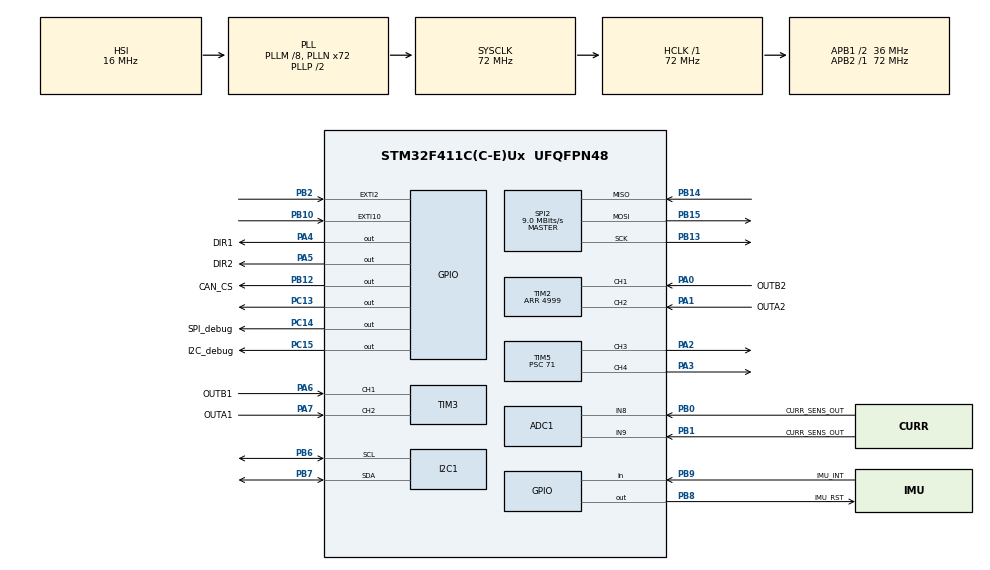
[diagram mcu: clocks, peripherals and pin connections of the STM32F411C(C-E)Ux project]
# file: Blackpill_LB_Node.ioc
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ADC1.Channel-0\#ChannelRegularConversion=ADC_CHANNEL_8
ADC1.Channel-1\#ChannelRegularConversion=ADC_CHANNEL_9
ADC1.ContinuousConvMode=ENABLE
ADC1.DMAContinuousRequests=ENABLE
ADC1.DiscontinuousConvMode=DISABLE
ADC1.NbrOfConversion=2
ADC1.NbrOfConversionFlag=1
ADC1.Rank-0\#ChannelRegularConversion=1
ADC1.Rank-1\#ChannelRegularConversion=2
ADC1.SamplingTime-0\#ChannelRegularConversion=ADC_SAMPLETIME_3CYCLES
ADC1.SamplingTime-1\#ChannelRegularConversion=ADC_SAMPLETIME_3CYCLES
ADC1.ScanConvMode=ENABLE
ADC1.master=1
Dma.ADC1.2.Direction=DMA_PERIPH_TO_MEMORY
Dma.ADC1.2.FIFOMode=DMA_FIFOMODE_DISABLE
Dma.ADC1.2.Instance=DMA2_Stream0
Dma.ADC1.2.MemDataAlignment=DMA_MDATAALIGN_HALFWORD
Dma.ADC1.2.MemInc=DMA_MINC_ENABLE
Dma.ADC1.2.Mode=DMA_CIRCULAR
Dma.ADC1.2.PeriphDataAlignment=DMA_PDATAALIGN_HALFWORD
Dma.ADC1.2.PeriphInc=DMA_PINC_DISABLE
Dma.ADC1.2.Priority=DMA_PRIORITY_LOW
Dma.I2C1_RX.0.Direction=DMA_PERIPH_TO_MEMORY
Dma.I2C1_RX.0.FIFOMode=DMA_FIFOMODE_DISABLE
Dma.I2C1_RX.0.Instance=DMA1_Stream0
Dma.I2C1_RX.0.MemDataAlignment=DMA_MDATAALIGN_BYTE
Dma.I2C1_RX.0.MemInc=DMA_MINC_ENABLE
Dma.I2C1_RX.0.Mode=DMA_NORMAL
Dma.I2C1_RX.0.PeriphDataAlignment=DMA_PDATAALIGN_BYTE
Dma.I2C1_RX.0.PeriphInc=DMA_PINC_DISABLE
Dma.I2C1_RX.0.Priority=DMA_PRIORITY_LOW
Dma.I2C1_TX.1.Direction=DMA_MEMORY_TO_PERIPH
Dma.I2C1_TX.1.FIFOMode=DMA_FIFOMODE_DISABLE
Dma.I2C1_TX.1.Instance=DMA1_Stream1
Dma.I2C1_TX.1.MemDataAlignment=DMA_MDATAALIGN_BYTE
Dma.I2C1_TX.1.MemInc=DMA_MINC_ENABLE
Dma.I2C1_TX.1.Mode=DMA_NORMAL
Dma.I2C1_TX.1.PeriphDataAlignment=DMA_PDATAALIGN_BYTE
Dma.I2C1_TX.1.PeriphInc=DMA_PINC_DISABLE
Dma.I2C1_TX.1.Priority=DMA_PRIORITY_LOW
Dma.Request0=I2C1_RX
Dma.Request1=I2C1_TX
Dma.Request2=ADC1
Mcu.Family=STM32F4
Mcu.Name=STM32F411C(C-E)Ux
Mcu.Package=UFQFPN48
NVIC.DMA1_Stream0_IRQn=true\:0\:0\:false\:false\:true\:false\:true\:true
NVIC.DMA1_Stream1_IRQn=true\:0\:0\:false\:false\:true\:false\:true\:true
NVIC.DMA2_Stream0_IRQn=true\:0\:0\:false\:false\:true\:false\:true\:true
NVIC.EXTI15_10_IRQn=true\:0\:0\:false\:false\:true\:true\:true\:true
NVIC.EXTI2_IRQn=true\:0\:0\:false\:false\:true\:true\:true\:true
NVIC.PriorityGroup=NVIC_PRIORITYGROUP_4
PA0-WKUP.GPIO_Label=OUTB2
PA0-WKUP.Signal=S_TIM2_CH1_ETR
PA1.GPIO_Label=OUTA2
PA1.Signal=S_TIM2_CH2
PA2.Signal=S_TIM5_CH3
PA3.Signal=S_TIM5_CH4
PA4.GPIO_Label=DIR1
PA4.Signal=GPIO_Output
PA5.GPIO_Label=DIR2
PA5.Signal=GPIO_Output
PA6.GPIO_Label=OUTB1
PA6.Signal=S_TIM3_CH1
PA7.GPIO_Label=OUTA1
PA7.Signal=S_TIM3_CH2
PB0.GPIO_Label=CURR_SENS_OUT
PB0.Signal=ADCx_IN8
PB1.GPIO_Label=CURR_SENS_OUT
PB1.Signal=ADCx_IN9
PB10.Signal=GPXTI10
PB12.GPIO_Label=CAN_CS
PB12.Signal=GPIO_Output
PB13.Mode=Full_Duplex_Master
PB13.Signal=SPI2_SCK
PB14.Mode=Full_Duplex_Master
PB14.Signal=SPI2_MISO
PB15.Mode=Full_Duplex_Master
PB15.Signal=SPI2_MOSI
PB2.GPIO_ModeDefaultEXTI=GPIO_MODE_IT_RISING_FALLING
PB2.Signal=GPXTI2
PB6.Mode=I2C
PB6.Signal=I2C1_SCL
PB7.Mode=I2C
PB7.Signal=I2C1_SDA
PB8.GPIO_Label=IMU_RST
PB8.Signal=GPIO_Output
PB9.GPIO_Label=IMU_INT
PB9.Signal=GPIO_Input
PC13-ANTI_TAMP.Signal=GPIO_Output
PC14-OSC32_IN.GPIO_Label=SPI_debug
PC14-OSC32_IN.Signal=GPIO_Output
PC15-OSC32_OUT.GPIO_Label=I2C_debug
PC15-OSC32_OUT.Signal=GPIO_Output
PH0\ -\ OSC_IN.Mode=HSE-External-Oscillator
PH0\ -\ OSC_IN.Signal=RCC_OSC_IN
PH1\ -\ OSC_OUT.Mode=HSE-External-Oscillator
PH1\ -\ OSC_OUT.Signal=RCC_OSC_OUT
ProjectManager.HeapSize=0x200
ProjectManager.StackSize=0x400
ProjectManager.TargetToolchain=STM32CubeIDE
RCC.48MHZClocksFreq_Value=36000000
RCC.AHBFreq_Value=72000000
RCC.APB1CLKDivider=RCC_HCLK_DIV2
RCC.APB1Freq_Value=36000000
RCC.APB1TimFreq_Value=72000000
RCC.APB2Freq_Value=72000000
RCC.APB2TimFreq_Value=72000000
RCC.CortexFreq_Value=72000000
RCC.HCLKFreq_Value=72000000
RCC.HSE_VALUE=25000000
RCC.HSI_VALUE=16000000
RCC.LSE_VALUE=32768
RCC.PLLM=8
RCC.PLLN=72
RCC.SYSCLKFreq_VALUE=72000000
RCC.SYSCLKSource=RCC_SYSCLKSOURCE_PLLCLK
RCC.VCOOutputFreq_Value=144000000
SH.ADCx_IN8.0=ADC1_IN8,IN8
SH.ADCx_IN9.0=ADC1_IN9,IN9
SH.S_TIM2_CH1_ETR.0=TIM2_CH1,Encoder_Interface
SH.S_TIM2_CH2.0=TIM2_CH2,Encoder_Interface
SH.S_TIM3_CH1.0=TIM3_CH1,Encoder_Interface
SH.S_TIM3_CH2.0=TIM3_CH2,Encoder_Interface
SH.S_TIM5_CH3.0=TIM5_CH3,PWM Generation3 CH3
SH.S_TIM5_CH4.0=TIM5_CH4,PWM Generation4 CH4
SPI2.BaudRatePrescaler=SPI_BAUDRATEPRESCALER_4
SPI2.CalculateBaudRate=9.0 MBits/s
SPI2.Direction=SPI_DIRECTION_2LINES
SPI2.Mode=SPI_MODE_MASTER
SPI2.VirtualType=VM_MASTER
TIM1.Prescaler=71
TIM2.Period=4999
TIM5.Channel-PWM\ Generation3\ CH3=TIM_CHANNEL_3
TIM5.Channel-PWM\ Generation4\ CH4=TIM_CHANNEL_4
TIM5.Period=255
TIM5.Prescaler=71
VP_TIM1_VS_ClockSourceINT.Mode=Internal
VP_TIM5_VS_ClockSourceINT.Mode=Internal
board=custom

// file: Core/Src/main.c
/* USER CODE BEGIN Header */
/**
  ******************************************************************************
  * @file           : main.c
  * @brief          : Main program body
  ******************************************************************************
  * @attention
  *
  * Copyright (c) 2026 STMicroelectronics.
  * All rights reserved.
  *
  * This software is licensed under terms that can be found in the LICENSE file
  * in the root directory of this software component.
  * If no LICENSE file comes with this software, it is provided AS-IS.
  *
  ******************************************************************************
  */
/* USER CODE END Header */
#include "main.h"

/* USER CODE BEGIN Includes */
#include "CANSPI.h"
#include "MCP2515.h"
/* USER CODE END Includes */

/* USER CODE BEGIN PD */
#define pitch 5
#define Vsup 5
#define KE 0.0004

#define CAN_FAIL 10000

/* ---- CAN node identifiers (bits [10:5] of the 11-bit standard ID) ---- */
#define RPI          0
#define FR           1
#define FL           2
#define BR           3
#define BL           4
#define LINEAR_BASE  5   /* this node */

/* ---- CAN message-type identifiers (bits [4:0]) ---- */
#define HEARTBEAT      0b00010  /* Wheel_Node value */
#define HEARTBEATED    0b00110  /* Wheel_Node value */
#define POSN_SEND      0b00000  /* was 0b00010 == HEARTBEAT; Wheel's MOTOR_DATA slot */
#define PWM_RECEIVE    0b00011
#define PWM_INTERRUPT  0b01010  /* Wheel_Node value */
#define START_NODE     0b10100  /* mirrors Wheel_Node's value for the same semantic message */

#define BUSOFF_CHECK_PERIOD_MS 200

#define MAKE_ARBITRATION_ID(node, msg) (((node) << 5) | (msg))

#define CPR (1000*4)
#define POS_UNITS_PER_MM 100   /* position sent in 0.01 mm: int16 -> +-327.67 mm */
#define pi 3.141592
#define dt 0.0001
/* USER CODE END PD */

ADC_HandleTypeDef hadc1;
DMA_HandleTypeDef hdma_adc1;

I2C_HandleTypeDef hi2c1;
DMA_HandleTypeDef hdma_i2c1_rx;
DMA_HandleTypeDef hdma_i2c1_tx;

SPI_HandleTypeDef hspi2;

TIM_HandleTypeDef htim1;
TIM_HandleTypeDef htim2;
TIM_HandleTypeDef htim3;
TIM_HandleTypeDef htim5;

/* USER CODE BEGIN PV */
uCAN_MSG tx_linearbase;
uCAN_MSG tx_heartbeat;
uCAN_MSG tx_pwminterrupt;

uCAN_MSG rx;

uint16_t CAN_failed_counter = 0;
uint16_t counter = 0;
uint8_t timer = 0;

bool beat_pls = false;
uint8_t heartbeater = 0;

bool start_node = false;
uint16_t curr_loc = 0;  //this is the value of quadrature

volatile uint16_t adc_buf[2] = {0, 0}; /* [0]=ADC_CHANNEL_8/PB0 = real motor current, sent over CAN.
                                  [1]=ADC_CHANNEL_9/PB1 is vestigial leftover config copied from
                                  Wheel_Node's 2-motor setup — DMA fills it but it is never sent. */

static const uint16_t msg_linearbase = MAKE_ARBITRATION_ID(LINEAR_BASE, POSN_SEND);
static const uint16_t start_node_msg = MAKE_ARBITRATION_ID(LINEAR_BASE, START_NODE);
static const uint16_t msg_pwmreceive = MAKE_ARBITRATION_ID(LINEAR_BASE, PWM_RECEIVE);

static const uint16_t heartbeat_msg = MAKE_ARBITRATION_ID(LINEAR_BASE, HEARTBEAT);
static const uint16_t heartbeated_msg = MAKE_ARBITRATION_ID(LINEAR_BASE, HEARTBEATED);

static const uint16_t pwminterrupted_msg = MAKE_ARBITRATION_ID(LINEAR_BASE, PWM_INTERRUPT);
static uint32_t last_bussoff_check_tick = 0;

volatile uint8_t interrupted_left = 0;
volatile uint8_t interrupted_right = 0;
volatile bool left_edge_pending = false;
volatile bool right_edge_pending = false;
volatile uint8_t cur_dir = 0;       /* last commanded direction: 0 = left, 1 = right */
volatile uint32_t tx_drop_count = 0;
int32_t pos_counts = 0;             /* signed accumulated 4x encoder counts (TIM3) */
uint16_t last_cnt = 0;
volatile bool CAN_checker = false;
volatile bool start_node_init = 0;

/* USER CODE END PV */

void SystemClock_Config(void);
static void MX_GPIO_Init(void);
static void MX_DMA_Init(void);
static void MX_ADC1_Init(void);
static void MX_I2C1_Init(void);
static void MX_SPI2_Init(void);
static void MX_TIM2_Init(void);
static void MX_TIM3_Init(void);
static void MX_TIM5_Init(void);
static void MX_TIM1_Init(void);
/* USER CODE BEGIN PFP */
void CAN_LinearBase(void){
	/* mm = counts * pitch / CPR (pitch in mm per rev, CPR = 4x counts per rev) */
	int32_t pos_units = (int32_t)((int64_t)pos_counts * pitch * POS_UNITS_PER_MM / CPR);
	if (pos_units > 32767) pos_units = 32767;
	if (pos_units < -32768) pos_units = -32768;
	curr_loc = (uint16_t)(int16_t)pos_units;
	tx_linearbase.frame.idType = dSTANDARD_CAN_MSG_ID_2_0B;
	tx_linearbase.frame.id = msg_linearbase;
	tx_linearbase.frame.dlc = 7;
	tx_linearbase.frame.data0 = curr_loc & 0xFF;         //position LSB
	tx_linearbase.frame.data1 = (curr_loc >> 8) & 0xFF;  //position MSB
	tx_linearbase.frame.data2 = adc_buf[0] & 0xFF;        //current LSB, raw ADC counts
	tx_linearbase.frame.data3 = (adc_buf[0] >> 8) & 0xFF; //current MSB, raw ADC counts
	tx_linearbase.frame.data4 = adc_buf[1] & 0xFF;        //current 2 LSB, raw ADC counts
	tx_linearbase.frame.data5 = (adc_buf[1] >> 8) & 0xFF; //current 2 MSB, raw ADC counts
	tx_linearbase.frame.data6 = (interrupted_left ? 0x01 : 0) | (interrupted_right ? 0x02 : 0); //limit switches: bit0 left, bit1 right
	if (!CANSPI_Transmit(&tx_linearbase)) tx_drop_count++;
}

void delay_us (uint16_t us){
	__HAL_TIM_SET_COUNTER(&htim1,0);  // set the counter value a 0
	while (__HAL_TIM_GET_COUNTER(&htim1) < us);  // wait for the counter to reach the us input in the parameter
}

void LB_PWM(uint8_t dir, uint8_t pwm){
	dir = (dir != 0) ? 1 : 0;
	if (dir != cur_dir){
		/* direction change: PWM 0 -> DIR -> new PWM, never reverse at duty */
		__HAL_TIM_SET_COMPARE(&htim5, TIM_CHANNEL_3, 0);
		HAL_GPIO_WritePin(GPIOA, GPIO_PIN_4, dir ? GPIO_PIN_SET : GPIO_PIN_RESET);
		cur_dir = dir;
	}
	/* dir 0 is stopped by the left switch, dir 1 by the right one; the other way stays free */
	if ((dir == 0) ? interrupted_left : interrupted_right){
		__HAL_TIM_SET_COMPARE(&htim5, TIM_CHANNEL_3, 0);
		return;
	}
	__HAL_TIM_SET_COMPARE(&htim5, TIM_CHANNEL_3, pwm);   /* ARR is 255, so pwm 0..255 is 0..100% */
	/* a limit ISR may have fired between the check and the write above */
	if ((dir == 0) ? interrupted_left : interrupted_right){
		__HAL_TIM_SET_COMPARE(&htim5, TIM_CHANNEL_3, 0);
	}
}

void CAN_Heartbeat(void){
    if (beat_pls){
		tx_heartbeat.frame.idType = dSTANDARD_CAN_MSG_ID_2_0B;
		tx_heartbeat.frame.id = heartbeated_msg;
		tx_heartbeat.frame.dlc = 1;
		tx_heartbeat.frame.data0 = heartbeater;
		beat_pls = false;
		if (!CANSPI_Transmit(&tx_heartbeat)) tx_drop_count++;
    }
}

void CAN_PWMInterrupt(){
	tx_pwminterrupt.frame.idType = dSTANDARD_CAN_MSG_ID_2_0B;
	tx_pwminterrupt.frame.id = pwminterrupted_msg;
	tx_pwminterrupt.frame.dlc = 2;
	tx_pwminterrupt.frame.data0 = interrupted_left;
	tx_pwminterrupt.frame.data1 = interrupted_right;
	if (!CANSPI_Transmit(&tx_pwminterrupt)) tx_drop_count++;
}

void handle_rx(void){
	if (rx.frame.idType != dSTANDARD_CAN_MSG_ID_2_0B) return;
	if (rx.frame.id == msg_pwmreceive){
		/* data0 = direction, data1 = 8-bit magnitude (same layout as Wheel_Node) */
		if (rx.frame.dlc >= 2) LB_PWM(rx.frame.data0, rx.frame.data1);
	}
	else if (rx.frame.id == heartbeat_msg){
		heartbeater = rx.frame.data0 + rx.frame.data1;
		beat_pls = true;
		CAN_Heartbeat();
	}
}

void can_health_check(void){
	if (HAL_GetTick() - last_bussoff_check_tick >= BUSOFF_CHECK_PERIOD_MS){
		last_bussoff_check_tick = HAL_GetTick();
		if (!CAN_checker || CANSPI_isBussOff()){
			CAN_checker = false;
			CAN_checker = CANSPI_Initialize();
		}
	}
}

/* USER CODE END PFP */

int main(void)
{

  /* MCU Configuration--------------------------------------------------------*/

  /* Reset of all peripherals, Initializes the Flash interface and the Systick. */
  HAL_Init();

  /* Configure the system clock */
  SystemClock_Config();

  /* Initialize all configured peripherals */
  MX_GPIO_Init();
  MX_DMA_Init();
  MX_ADC1_Init();
  MX_I2C1_Init();
  MX_SPI2_Init();
  MX_TIM2_Init();
  MX_TIM3_Init();
  MX_TIM5_Init();
  MX_TIM1_Init();
  /* USER CODE BEGIN 2 */
  HAL_GPIO_WritePin(GPIOC,GPIO_PIN_13,0);
  HAL_Delay(100);
  HAL_GPIO_WritePin(GPIOC,GPIO_PIN_13,1);
  HAL_Delay(100);

  HAL_Delay(1000);
  CAN_checker = CANSPI_Initialize();
  HAL_Delay(1000);

  HAL_GPIO_WritePin(GPIOC,GPIO_PIN_13,0);
  HAL_Delay(100);
  HAL_GPIO_WritePin(GPIOC,GPIO_PIN_13,1);
  HAL_Delay(100);

  HAL_GPIO_WritePin(GPIOC,GPIO_PIN_13,0);
  HAL_Delay(100);
  HAL_GPIO_WritePin(GPIOC,GPIO_PIN_13,1);
  HAL_Delay(100);

  HAL_TIM_Base_Start(&htim1);

  HAL_TIM_PWM_Start(&htim5, TIM_CHANNEL_3);
//  HAL_TIM_PWM_Start(&htim5, TIM_CHANNEL_4);

  HAL_TIM_Encoder_Start(&htim2, TIM_CHANNEL_ALL);
  HAL_TIM_Encoder_Start(&htim3, TIM_CHANNEL_ALL);   /* TIM3 is the one read for position */

  HAL_ADC_Start_DMA(&hadc1, (uint32_t*)adc_buf, 2);
  __HAL_DMA_DISABLE_IT(hadc1.DMA_Handle, DMA_IT_TC | DMA_IT_HT | DMA_IT_TE);

  /* limit switches: read the real state once (carriage may power up on a switch),
     then enable the EXTI lines only now that CAN/SPI are initialised */
  interrupted_left  = (HAL_GPIO_ReadPin(GPIOB, GPIO_PIN_2)  == GPIO_PIN_SET) ? 1 : 0;
  interrupted_right = (HAL_GPIO_ReadPin(GPIOB, GPIO_PIN_10) == GPIO_PIN_SET) ? 1 : 0;
  if (interrupted_left || interrupted_right) CAN_PWMInterrupt();
  __HAL_GPIO_EXTI_CLEAR_IT(GPIO_PIN_2 | GPIO_PIN_10);
  HAL_NVIC_ClearPendingIRQ(EXTI2_IRQn);
  HAL_NVIC_ClearPendingIRQ(EXTI15_10_IRQn);
  HAL_NVIC_EnableIRQ(EXTI2_IRQn);
  HAL_NVIC_EnableIRQ(EXTI15_10_IRQn);

//  HAL_GPIO_WritePin(GPIOA,GPIO_PIN_4,1);
//  HAL_GPIO_WritePin(GPIOA,GPIO_PIN_5,1);
//  __HAL_TIM_SET_COMPARE(&htim5, TIM_CHANNEL_3, 150);
//  __HAL_TIM_SET_COMPARE(&htim5, TIM_CHANNEL_4, 150);
//
//  HAL_Delay(2000);
//
//  HAL_GPIO_WritePin(GPIOA,GPIO_PIN_4,0);
//  HAL_GPIO_WritePin(GPIOA,GPIO_PIN_5,0);
//  __HAL_TIM_SET_COMPARE(&htim5, TIM_CHANNEL_3, 0);
//  __HAL_TIM_SET_COMPARE(&htim5, TIM_CHANNEL_4, 0);
//
//  HAL_Delay(1000);

  /* Independent watchdog: LSI ~32 kHz / 64 = 500 Hz, reload 500 -> ~1 s.
     Fed from the main loop (and the start-wait loop); a hang resets the MCU, which drops PWM. */
  DBGMCU->APB1FZ |= DBGMCU_APB1_FZ_DBG_IWDG_STOP;   /* freeze while halted in the debugger */
  IWDG->KR  = 0x5555;
  IWDG->PR  = 4;
  IWDG->RLR = 500;
  IWDG->KR  = 0xAAAA;
  IWDG->KR  = 0xCCCC;
  /* USER CODE END 2 */

  /* Infinite loop */
  while (1)
  {

    /* USER CODE BEGIN 3 */

      IWDG->KR = 0xAAAA;   /* feed watchdog */

      // TTL disabled for now (loop-pass based, to be redone later):
      if (CAN_failed_counter>=CAN_FAIL){
    	  __HAL_TIM_SET_COMPARE(&htim5, TIM_CHANNEL_3, 0);
    	  HAL_GPIO_WritePin(GPIOA,GPIO_PIN_4,0);
    	  start_node = false;
      }

      can_health_check();

      if (!start_node){
    	  while(!CANSPI_Receive(&rx)){ IWDG->KR = 0xAAAA; can_health_check(); }
    	  CAN_failed_counter = 0;
    	  if (rx.frame.id == start_node_msg){
    		  start_node = true;
    		  start_node_init = true;
    		  delay_us(50);
    	  }
    	  else if (start_node_init){
    		  start_node = true;
    		  handle_rx();   /* the frame that woke the node is processed, not dropped */
    	  }
      }

  	  if(timer==10){
  		  timer = 0;
  		  CAN_LinearBase();
  	  }
  	  if (counter==1000){
  		  HAL_GPIO_TogglePin(GPIOC,GPIO_PIN_13);
  		  counter = 0;
  	  }

  	  if (left_edge_pending){
  		  left_edge_pending = false;
  		  CAN_PWMInterrupt();
  	  }
  	  if (right_edge_pending){
  		  right_edge_pending = false;
  		  CAN_PWMInterrupt();
  	  }

  	  HAL_GPIO_WritePin(GPIOC, GPIO_PIN_14, CAN_checker ? GPIO_PIN_SET : GPIO_PIN_RESET); // SPI_debug: follows CAN health

  	  if (CANSPI_Receive(&rx)){
  		  CAN_failed_counter=0;
  		  handle_rx();
  	  }

  	  //live position: signed accumulation of the 4x encoder count (wrap-safe, 16-bit counter)
  	  {
  		  uint16_t now_cnt = (uint16_t)__HAL_TIM_GET_COUNTER(&htim3);
  		  pos_counts += (int16_t)(now_cnt - last_cnt);
  		  last_cnt = now_cnt;
  	  }
  	  /* TODO(velocity): when the velocity command is defined, dead-reckon position from it here
  	     (pos += v*dt using a measured dt) and re-sync on limit hits. */

  	  timer++;
  	  counter++;
  	  CAN_failed_counter++;
  	  delay_us(100);
    }
  /* USER CODE END 3 */
}

void SystemClock_Config(void)
{
  RCC_OscInitTypeDef RCC_OscInitStruct = {0};
  RCC_ClkInitTypeDef RCC_ClkInitStruct = {0};

  /** Configure the main internal regulator output voltage
  */
  __HAL_RCC_PWR_CLK_ENABLE();
  __HAL_PWR_VOLTAGESCALING_CONFIG(PWR_REGULATOR_VOLTAGE_SCALE1);

  /** Initializes the RCC Oscillators according to the specified parameters
  * in the RCC_OscInitTypeDef structure.
  */
  RCC_OscInitStruct.OscillatorType = RCC_OSCILLATORTYPE_HSI;
  RCC_OscInitStruct.HSIState = RCC_HSI_ON;
  RCC_OscInitStruct.HSICalibrationValue = RCC_HSICALIBRATION_DEFAULT;
  RCC_OscInitStruct.PLL.PLLState = RCC_PLL_ON;
  RCC_OscInitStruct.PLL.PLLSource = RCC_PLLSOURCE_HSI;
  RCC_OscInitStruct.PLL.PLLM = 8;
  RCC_OscInitStruct.PLL.PLLN = 72;
  RCC_OscInitStruct.PLL.PLLP = RCC_PLLP_DIV2;
  RCC_OscInitStruct.PLL.PLLQ = 4;
  if (HAL_RCC_OscConfig(&RCC_OscInitStruct) != HAL_OK)
  {
    Error_Handler();
  }

  /** Initializes the CPU, AHB and APB buses clocks
  */
  RCC_ClkInitStruct.ClockType = RCC_CLOCKTYPE_HCLK|RCC_CLOCKTYPE_SYSCLK
                              |RCC_CLOCKTYPE_PCLK1|RCC_CLOCKTYPE_PCLK2;
  RCC_ClkInitStruct.SYSCLKSource = RCC_SYSCLKSOURCE_PLLCLK;
  RCC_ClkInitStruct.AHBCLKDivider = RCC_SYSCLK_DIV1;
  RCC_ClkInitStruct.APB1CLKDivider = RCC_HCLK_DIV2;
  RCC_ClkInitStruct.APB2CLKDivider = RCC_HCLK_DIV1;

  if (HAL_RCC_ClockConfig(&RCC_ClkInitStruct, FLASH_LATENCY_2) != HAL_OK)
  {
    Error_Handler();
  }
}

static void MX_ADC1_Init(void)
{

  ADC_ChannelConfTypeDef sConfig = {0};

  /** Configure the global features of the ADC (Clock, Resolution, Data Alignment and number of conversion)
  */
  hadc1.Instance = ADC1;
  hadc1.Init.ClockPrescaler = ADC_CLOCK_SYNC_PCLK_DIV2;
  hadc1.Init.Resolution = ADC_RESOLUTION_12B;
  hadc1.Init.ScanConvMode = ENABLE;
  hadc1.Init.ContinuousConvMode = ENABLE;
  hadc1.Init.DiscontinuousConvMode = DISABLE;
  hadc1.Init.ExternalTrigConvEdge = ADC_EXTERNALTRIGCONVEDGE_NONE;
  hadc1.Init.ExternalTrigConv = ADC_SOFTWARE_START;
  hadc1.Init.DataAlign = ADC_DATAALIGN_RIGHT;
  hadc1.Init.NbrOfConversion = 2;
  hadc1.Init.DMAContinuousRequests = ENABLE;
  hadc1.Init.EOCSelection = ADC_EOC_SINGLE_CONV;
  if (HAL_ADC_Init(&hadc1) != HAL_OK)
  {
    Error_Handler();
  }

  /** Configure for the selected ADC regular channel its corresponding rank in the sequencer and its sample time.
  */
  sConfig.Channel = ADC_CHANNEL_8;
  sConfig.Rank = 1;
  sConfig.SamplingTime = ADC_SAMPLETIME_3CYCLES;
  if (HAL_ADC_ConfigChannel(&hadc1, &sConfig) != HAL_OK)
  {
    Error_Handler();
  }

  /** Configure for the selected ADC regular channel its corresponding rank in the sequencer and its sample time.
  */
  sConfig.Channel = ADC_CHANNEL_9;
  sConfig.Rank = 2;
  if (HAL_ADC_ConfigChannel(&hadc1, &sConfig) != HAL_OK)
  {
    Error_Handler();
  }

}

static void MX_I2C1_Init(void)
{

  hi2c1.Instance = I2C1;
  hi2c1.Init.ClockSpeed = 100000;
  hi2c1.Init.DutyCycle = I2C_DUTYCYCLE_2;
  hi2c1.Init.OwnAddress1 = 0;
  hi2c1.Init.AddressingMode = I2C_ADDRESSINGMODE_7BIT;
  hi2c1.Init.DualAddressMode = I2C_DUALADDRESS_DISABLE;
  hi2c1.Init.OwnAddress2 = 0;
  hi2c1.Init.GeneralCallMode = I2C_GENERALCALL_DISABLE;
  hi2c1.Init.NoStretchMode = I2C_NOSTRETCH_DISABLE;
  if (HAL_I2C_Init(&hi2c1) != HAL_OK)
  {
    Error_Handler();
  }

}

static void MX_SPI2_Init(void)
{

  /* SPI2 parameter configuration*/
  hspi2.Instance = SPI2;
  hspi2.Init.Mode = SPI_MODE_MASTER;
  hspi2.Init.Direction = SPI_DIRECTION_2LINES;
  hspi2.Init.DataSize = SPI_DATASIZE_8BIT;
  hspi2.Init.CLKPolarity = SPI_POLARITY_LOW;
  hspi2.Init.CLKPhase = SPI_PHASE_1EDGE;
  hspi2.Init.NSS = SPI_NSS_SOFT;
  hspi2.Init.BaudRatePrescaler = SPI_BAUDRATEPRESCALER_4;
  hspi2.Init.FirstBit = SPI_FIRSTBIT_MSB;
  hspi2.Init.TIMode = SPI_TIMODE_DISABLE;
  hspi2.Init.CRCCalculation = SPI_CRCCALCULATION_DISABLE;
  hspi2.Init.CRCPolynomial = 10;
  if (HAL_SPI_Init(&hspi2) != HAL_OK)
  {
    Error_Handler();
  }

}

static void MX_TIM1_Init(void)
{

  TIM_ClockConfigTypeDef sClockSourceConfig = {0};
  TIM_MasterConfigTypeDef sMasterConfig = {0};

  htim1.Instance = TIM1;
  htim1.Init.Prescaler = 71;
  htim1.Init.CounterMode = TIM_COUNTERMODE_UP;
  htim1.Init.Period = 65535;
  htim1.Init.ClockDivision = TIM_CLOCKDIVISION_DIV1;
  htim1.Init.RepetitionCounter = 0;
  htim1.Init.AutoReloadPreload = TIM_AUTORELOAD_PRELOAD_DISABLE;
  if (HAL_TIM_Base_Init(&htim1) != HAL_OK)
  {
    Error_Handler();
  }
  sClockSourceConfig.ClockSource = TIM_CLOCKSOURCE_INTERNAL;
  if (HAL_TIM_ConfigClockSource(&htim1, &sClockSourceConfig) != HAL_OK)
  {
    Error_Handler();
  }
  sMasterConfig.MasterOutputTrigger = TIM_TRGO_RESET;
  sMasterConfig.MasterSlaveMode = TIM_MASTERSLAVEMODE_DISABLE;
  if (HAL_TIMEx_MasterConfigSynchronization(&htim1, &sMasterConfig) != HAL_OK)
  {
    Error_Handler();
  }

}

static void MX_TIM2_Init(void)
{

  TIM_Encoder_InitTypeDef sConfig = {0};
  TIM_MasterConfigTypeDef sMasterConfig = {0};

  htim2.Instance = TIM2;
  htim2.Init.Prescaler = 0;
  htim2.Init.CounterMode = TIM_COUNTERMODE_UP;
  htim2.Init.Period = 4999;
  htim2.Init.ClockDivision = TIM_CLOCKDIVISION_DIV1;
  htim2.Init.AutoReloadPreload = TIM_AUTORELOAD_PRELOAD_DISABLE;
  sConfig.EncoderMode = TIM_ENCODERMODE_TI1;
  sConfig.IC1Polarity = TIM_ICPOLARITY_RISING;
  sConfig.IC1Selection = TIM_ICSELECTION_DIRECTTI;
  sConfig.IC1Prescaler = TIM_ICPSC_DIV1;
  sConfig.IC1Filter = 0;
  sConfig.IC2Polarity = TIM_ICPOLARITY_RISING;
  sConfig.IC2Selection = TIM_ICSELECTION_DIRECTTI;
  sConfig.IC2Prescaler = TIM_ICPSC_DIV1;
  sConfig.IC2Filter = 0;
  if (HAL_TIM_Encoder_Init(&htim2, &sConfig) != HAL_OK)
  {
    Error_Handler();
  }
  sMasterConfig.MasterOutputTrigger = TIM_TRGO_RESET;
  sMasterConfig.MasterSlaveMode = TIM_MASTERSLAVEMODE_DISABLE;
  if (HAL_TIMEx_MasterConfigSynchronization(&htim2, &sMasterConfig) != HAL_OK)
  {
    Error_Handler();
  }

}

static void MX_TIM3_Init(void)
{

  TIM_Encoder_InitTypeDef sConfig = {0};
  TIM_MasterConfigTypeDef sMasterConfig = {0};

  htim3.Instance = TIM3;
  htim3.Init.Prescaler = 0;
  htim3.Init.CounterMode = TIM_COUNTERMODE_UP;
  htim3.Init.Period = 65535;
  htim3.Init.ClockDivision = TIM_CLOCKDIVISION_DIV1;
  htim3.Init.AutoReloadPreload = TIM_AUTORELOAD_PRELOAD_DISABLE;
  sConfig.EncoderMode = TIM_ENCODERMODE_TI12;
  sConfig.IC1Polarity = TIM_ICPOLARITY_RISING;
  sConfig.IC1Selection = TIM_ICSELECTION_DIRECTTI;
  sConfig.IC1Prescaler = TIM_ICPSC_DIV1;
  sConfig.IC1Filter = 6;
  sConfig.IC2Polarity = TIM_ICPOLARITY_RISING;
  sConfig.IC2Selection = TIM_ICSELECTION_DIRECTTI;
  sConfig.IC2Prescaler = TIM_ICPSC_DIV1;
  sConfig.IC2Filter = 6;
  if (HAL_TIM_Encoder_Init(&htim3, &sConfig) != HAL_OK)
  {
    Error_Handler();
  }
  sMasterConfig.MasterOutputTrigger = TIM_TRGO_RESET;
  sMasterConfig.MasterSlaveMode = TIM_MASTERSLAVEMODE_DISABLE;
  if (HAL_TIMEx_MasterConfigSynchronization(&htim3, &sMasterConfig) != HAL_OK)
  {
    Error_Handler();
  }

}

static void MX_TIM5_Init(void)
{

  TIM_ClockConfigTypeDef sClockSourceConfig = {0};
  TIM_MasterConfigTypeDef sMasterConfig = {0};
  TIM_OC_InitTypeDef sConfigOC = {0};

  htim5.Instance = TIM5;
  htim5.Init.Prescaler = 71;
  htim5.Init.CounterMode = TIM_COUNTERMODE_UP;
  htim5.Init.Period = 255;
  htim5.Init.ClockDivision = TIM_CLOCKDIVISION_DIV1;
  htim5.Init.AutoReloadPreload = TIM_AUTORELOAD_PRELOAD_DISABLE;
  if (HAL_TIM_Base_Init(&htim5) != HAL_OK)
  {
    Error_Handler();
  }
  sClockSourceConfig.ClockSource = TIM_CLOCKSOURCE_INTERNAL;
  if (HAL_TIM_ConfigClockSource(&htim5, &sClockSourceConfig) != HAL_OK)
  {
    Error_Handler();
  }
  if (HAL_TIM_PWM_Init(&htim5) != HAL_OK)
  {
    Error_Handler();
  }
  sMasterConfig.MasterOutputTrigger = TIM_TRGO_RESET;
  sMasterConfig.MasterSlaveMode = TIM_MASTERSLAVEMODE_DISABLE;
  if (HAL_TIMEx_MasterConfigSynchronization(&htim5, &sMasterConfig) != HAL_OK)
  {
    Error_Handler();
  }
  sConfigOC.OCMode = TIM_OCMODE_PWM1;
  sConfigOC.Pulse = 0;
  sConfigOC.OCPolarity = TIM_OCPOLARITY_HIGH;
  sConfigOC.OCFastMode = TIM_OCFAST_DISABLE;
  if (HAL_TIM_PWM_ConfigChannel(&htim5, &sConfigOC, TIM_CHANNEL_3) != HAL_OK)
  {
    Error_Handler();
  }
  if (HAL_TIM_PWM_ConfigChannel(&htim5, &sConfigOC, TIM_CHANNEL_4) != HAL_OK)
  {
    Error_Handler();
  }
  HAL_TIM_MspPostInit(&htim5);

}

static void MX_DMA_Init(void)
{

  /* DMA controller clock enable */
  __HAL_RCC_DMA1_CLK_ENABLE();
  __HAL_RCC_DMA2_CLK_ENABLE();

  /* DMA interrupt init */
  /* DMA1_Stream0_IRQn interrupt configuration */
  HAL_NVIC_SetPriority(DMA1_Stream0_IRQn, 0, 0);
  HAL_NVIC_EnableIRQ(DMA1_Stream0_IRQn);
  /* DMA1_Stream1_IRQn interrupt configuration */
  HAL_NVIC_SetPriority(DMA1_Stream1_IRQn, 0, 0);
  HAL_NVIC_EnableIRQ(DMA1_Stream1_IRQn);
  /* DMA2_Stream0_IRQn interrupt configuration */
  HAL_NVIC_SetPriority(DMA2_Stream0_IRQn, 0, 0);
  HAL_NVIC_EnableIRQ(DMA2_Stream0_IRQn);

}

static void MX_GPIO_Init(void)
{
  GPIO_InitTypeDef GPIO_InitStruct = {0};

  /* GPIO Ports Clock Enable */
  __HAL_RCC_GPIOC_CLK_ENABLE();
  __HAL_RCC_GPIOH_CLK_ENABLE();
  __HAL_RCC_GPIOA_CLK_ENABLE();
  __HAL_RCC_GPIOB_CLK_ENABLE();

  /*Configure GPIO pin Output Level */
  HAL_GPIO_WritePin(GPIOC, GPIO_PIN_13|SPI_debug_Pin|I2C_debug_Pin, GPIO_PIN_RESET);

  /*Configure GPIO pin Output Level */
  HAL_GPIO_WritePin(GPIOA, DIR1_Pin|DIR2_Pin, GPIO_PIN_RESET);

  /*Configure GPIO pin Output Level */
  HAL_GPIO_WritePin(GPIOB, CAN_CS_Pin|IMU_RST_Pin, GPIO_PIN_RESET);

  /*Configure GPIO pins : PC13 SPI_debug_Pin I2C_debug_Pin */
  GPIO_InitStruct.Pin = GPIO_PIN_13|SPI_debug_Pin|I2C_debug_Pin;
  GPIO_InitStruct.Mode = GPIO_MODE_OUTPUT_PP;
  GPIO_InitStruct.Pull = GPIO_NOPULL;
  GPIO_InitStruct.Speed = GPIO_SPEED_FREQ_LOW;
  HAL_GPIO_Init(GPIOC, &GPIO_InitStruct);

  /*Configure GPIO pins : DIR1_Pin DIR2_Pin */
  GPIO_InitStruct.Pin = DIR1_Pin|DIR2_Pin;
  GPIO_InitStruct.Mode = GPIO_MODE_OUTPUT_PP;
  GPIO_InitStruct.Pull = GPIO_NOPULL;
  GPIO_InitStruct.Speed = GPIO_SPEED_FREQ_LOW;
  HAL_GPIO_Init(GPIOA, &GPIO_InitStruct);

  /*Configure GPIO pin : PB2 */
  GPIO_InitStruct.Pin = GPIO_PIN_2;
  GPIO_InitStruct.Mode = GPIO_MODE_IT_RISING_FALLING;
  GPIO_InitStruct.Pull = GPIO_NOPULL;
  HAL_GPIO_Init(GPIOB, &GPIO_InitStruct);

  /*Configure GPIO pin : PB10 */
  GPIO_InitStruct.Pin = GPIO_PIN_10;
  GPIO_InitStruct.Mode = GPIO_MODE_IT_RISING_FALLING;
  GPIO_InitStruct.Pull = GPIO_NOPULL;
  HAL_GPIO_Init(GPIOB, &GPIO_InitStruct);

  /*Configure GPIO pins : CAN_CS_Pin IMU_RST_Pin */
  GPIO_InitStruct.Pin = CAN_CS_Pin|IMU_RST_Pin;
  GPIO_InitStruct.Mode = GPIO_MODE_OUTPUT_PP;
  GPIO_InitStruct.Pull = GPIO_NOPULL;
  GPIO_InitStruct.Speed = GPIO_SPEED_FREQ_LOW;
  HAL_GPIO_Init(GPIOB, &GPIO_InitStruct);

  /*Configure GPIO pin : IMU_INT_Pin */
  GPIO_InitStruct.Pin = IMU_INT_Pin;
  GPIO_InitStruct.Mode = GPIO_MODE_INPUT;
  GPIO_InitStruct.Pull = GPIO_NOPULL;
  HAL_GPIO_Init(IMU_INT_GPIO_Port, &GPIO_InitStruct);

  /* EXTI interrupt init*/
  HAL_NVIC_SetPriority(EXTI2_IRQn, 0, 0);
  /* EXTI2 enabled in main() after CANSPI_Initialize() */

  HAL_NVIC_SetPriority(EXTI15_10_IRQn, 0, 0);
  /* EXTI15_10 enabled in main() after CANSPI_Initialize() */

}

/* USER CODE BEGIN 4 */
void HAL_GPIO_EXTI_Callback(uint16_t GPIO_Pin){
	/* ISR does no SPI: update the flag, stop the motor if it is driving into this switch,
	   and let the main loop send the CAN frame. */
	if (GPIO_Pin==GPIO_PIN_2){
		interrupted_left = (HAL_GPIO_ReadPin(GPIOB, GPIO_PIN_2) == GPIO_PIN_SET) ? 1 : 0;
		if (interrupted_left && cur_dir == 0) __HAL_TIM_SET_COMPARE(&htim5, TIM_CHANNEL_3, 0);
		left_edge_pending = true;
	}
	else if(GPIO_Pin==GPIO_PIN_10){
		interrupted_right = (HAL_GPIO_ReadPin(GPIOB, GPIO_PIN_10) == GPIO_PIN_SET) ? 1 : 0;
		if (interrupted_right && cur_dir == 1) __HAL_TIM_SET_COMPARE(&htim5, TIM_CHANNEL_3, 0);
		right_edge_pending = true;
	}
}

/* USER CODE END 4 */

void Error_Handler(void)
{
  /* USER CODE BEGIN Error_Handler_Debug */
  /* User can add his own implementation to report the HAL error return state */
  TIM5->CCR3 = 0;                              /* motor off */
  GPIOA->BSRR = (uint32_t)GPIO_PIN_4 << 16U;   /* DIR low */
  __disable_irq();
  while (1)
  {
  }
  /* USER CODE END Error_Handler_Debug */
}
